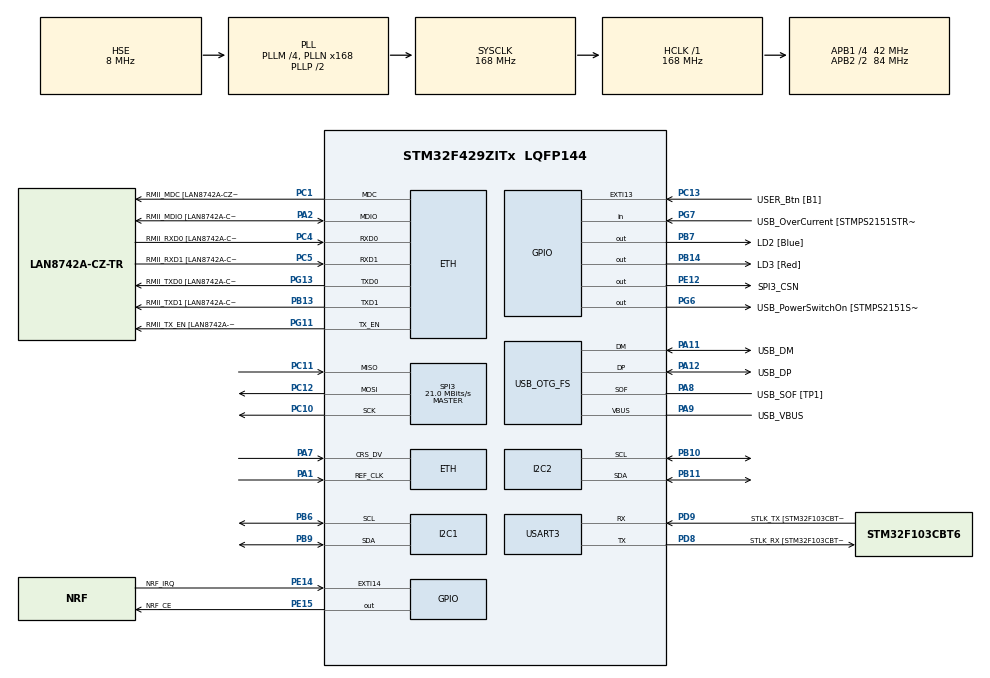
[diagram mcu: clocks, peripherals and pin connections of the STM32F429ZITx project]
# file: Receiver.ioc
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ETH.MediaInterface=HAL_ETH_RMII_MODE
ETH.PHY_Name=LAN8742A_PHY_ADDRESS
ETH.PHY_Name_RMII=DP83848_PHY_ADDRESS
ETH.PHY_Value=0
ETH.PhyAddress=0
LWIP.BSP.number=1
LWIP.IP_ADDRESS=169.254.002.002
LWIP.LWIP_DHCP=0
LWIP.NETMASK_ADDRESS=255.255.000.000
LWIP.Version=v2.1.2_Cube
LWIP0.BSP.STBoard=false
LWIP0.BSP.api=BSP_COMPONENT_DRIVER
LWIP0.BSP.component=LAN8742
LWIP0.BSP.instance=LAN8742
LWIP0.BSP.name=Driver_PHY
LWIP0.BSP.semaphore=S_LAN8742
LWIP0.BSP.solution=LAN8742
Mcu.Family=STM32F4
Mcu.Name=STM32F429ZITx
Mcu.Package=LQFP144
NVIC.EXTI15_10_IRQn=true\:2\:0\:true\:false\:true\:true\:true\:true
NVIC.PriorityGroup=NVIC_PRIORITYGROUP_4
NVIC.TIM1_UP_TIM10_IRQn=true\:1\:0\:true\:false\:true\:true\:true\:true
PA1.Mode=RMII
PA1.Signal=ETH_REF_CLK
PA10.GPIO_Label=USB_ID
PA10.Signal=USB_OTG_FS_ID
PA11.GPIO_Label=USB_DM
PA11.Mode=Device_Only
PA11.Signal=USB_OTG_FS_DM
PA12.GPIO_Label=USB_DP
PA12.Mode=Device_Only
PA12.Signal=USB_OTG_FS_DP
PA13.GPIO_Label=TMS
PA13.Mode=Serial_Wire
PA13.Signal=SYS_JTMS-SWDIO
PA14.GPIO_Label=TCK
PA14.Mode=Serial_Wire
PA14.Signal=SYS_JTCK-SWCLK
PA2.GPIO_Label=RMII_MDIO [LAN8742A-CZ-TR_MDIO]
PA2.Mode=RMII
PA2.Signal=ETH_MDIO
PA7.Mode=RMII
PA7.Signal=ETH_CRS_DV
PA8.GPIO_Label=USB_SOF [TP1]
PA8.Mode=Activate_SOF_FS
PA8.Signal=USB_OTG_FS_SOF
PA9.GPIO_Label=USB_VBUS
PA9.Mode=Activate_VBUS
PA9.Signal=USB_OTG_FS_VBUS
PB10.Mode=I2C
PB10.Signal=I2C2_SCL
PB11.Mode=I2C
PB11.Signal=I2C2_SDA
PB13.GPIO_Label=RMII_TXD1 [LAN8742A-CZ-TR_TXD1]
PB13.Mode=RMII
PB13.Signal=ETH_TXD1
PB14.GPIO_Label=LD3 [Red]
PB14.Signal=GPIO_Output
PB6.Mode=I2C
PB6.Signal=I2C1_SCL
PB7.GPIO_Label=LD2 [Blue]
PB7.Signal=GPIO_Output
PB9.Mode=I2C
PB9.Signal=I2C1_SDA
PC1.GPIO_Label=RMII_MDC [LAN8742A-CZ-TR_MDC]
PC1.Mode=RMII
PC1.Signal=ETH_MDC
PC10.Mode=Full_Duplex_Master
PC10.Signal=SPI3_SCK
PC11.Mode=Full_Duplex_Master
PC11.Signal=SPI3_MISO
PC12.Mode=Full_Duplex_Master
PC12.Signal=SPI3_MOSI
PC13.GPIO_Label=USER_Btn [B1]
PC13.Signal=GPXTI13
PC14/OSC32_IN.Mode=LSE-External-Oscillator
PC14/OSC32_IN.Signal=RCC_OSC32_IN
PC15/OSC32_OUT.Mode=LSE-External-Oscillator
PC15/OSC32_OUT.Signal=RCC_OSC32_OUT
PC4.GPIO_Label=RMII_RXD0 [LAN8742A-CZ-TR_RXD0]
PC4.Mode=RMII
PC4.Signal=ETH_RXD0
PC5.GPIO_Label=RMII_RXD1 [LAN8742A-CZ-TR_RXD1]
PC5.Mode=RMII
PC5.Signal=ETH_RXD1
PD3.Signal=SPI2_SCK
PD8.GPIO_Label=STLK_RX [STM32F103CBT6_PA3]
PD8.Mode=Asynchronous
PD8.Signal=USART3_TX
PD9.GPIO_Label=STLK_TX [STM32F103CBT6_PA2]
PD9.Mode=Asynchronous
PD9.Signal=USART3_RX
PE12.GPIO_Label=SPI3_CSN
PE12.Signal=GPIO_Output
PE14.GPIO_Label=NRF_IRQ
PE14.GPIO_ModeDefaultEXTI=GPIO_MODE_IT_FALLING
PE14.Signal=GPXTI14
PE15.GPIO_Label=NRF_CE
PE15.Signal=GPIO_Output
PG11.GPIO_Label=RMII_TX_EN [LAN8742A-CZ-TR_TXEN]
PG11.Mode=RMII
PG11.Signal=ETH_TX_EN
PG13.GPIO_Label=RMII_TXD0 [LAN8742A-CZ-TR_TXD0]
PG13.Mode=RMII
PG13.Signal=ETH_TXD0
PG6.GPIO_Label=USB_PowerSwitchOn [STMPS2151STR_EN]
PG6.Signal=GPIO_Output
PG7.GPIO_Label=USB_OverCurrent [STMPS2151STR_FAULT]
PG7.Signal=GPIO_Input
PH0/OSC_IN.GPIO_Label=MCO [STM32F103CBT6_PA8]
PH0/OSC_IN.Mode=HSE-External-Oscillator
PH0/OSC_IN.Signal=RCC_OSC_IN
PH1/OSC_OUT.Mode=HSE-External-Oscillator
PH1/OSC_OUT.Signal=RCC_OSC_OUT
ProjectManager.HeapSize=0x200
ProjectManager.StackSize=0x400
ProjectManager.TargetToolchain=STM32CubeIDE
RCC.48MHZClocksFreq_Value=48000000
RCC.AHBFreq_Value=168000000
RCC.APB1CLKDivider=RCC_HCLK_DIV4
RCC.APB1Freq_Value=42000000
RCC.APB1TimFreq_Value=84000000
RCC.APB2CLKDivider=RCC_HCLK_DIV2
RCC.APB2Freq_Value=84000000
RCC.APB2TimFreq_Value=168000000
RCC.CortexFreq_Value=168000000
RCC.HCLKFreq_Value=168000000
RCC.HSE_VALUE=8000000
RCC.HSI_VALUE=16000000
RCC.PLLM=4
RCC.PLLMUL=RCC_PLL_MUL9
RCC.PLLN=168
RCC.PLLQ=7
RCC.PRESCALERUSB=RCC_USBCLKSOURCE_PLL_DIV1_5
RCC.SYSCLKFreq_VALUE=168000000
RCC.SYSCLKSource=RCC_SYSCLKSOURCE_PLLCLK
RCC.SYSCLKSourceVirtual=RCC_SYSCLKSOURCE_PLLCLK
RCC.USBFreq_Value=48000000
RCC.VCOOutputFreq_Value=336000000
SPI3.CalculateBaudRate=21.0 MBits/s
SPI3.Direction=SPI_DIRECTION_2LINES
SPI3.Mode=SPI_MODE_MASTER
SPI3.VirtualType=VM_MASTER
TIM10.ClockDivision=TIM_CLOCKDIVISION_DIV4
TIM10.Period=60000-1
TIM10.Prescaler=42000-1
USART3.VirtualMode=VM_ASYNC
USB_OTG_FS.VirtualMode=Device_Only
VP_LWIP_VS_Enabled.Mode=Enabled
VP_TIM10_VS_ClockSourceINT.Mode=Enable_Timer
board=NUCLEO-F429ZI

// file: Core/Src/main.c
/* USER CODE BEGIN Header */
/**
  ******************************************************************************
  * @file           : main.c
  * @brief          : Main program body
  ******************************************************************************
  * @attention
  *
  * Copyright (c) 2022 STMicroelectronics.
  * All rights reserved.
  *
  * This software is licensed under terms that can be found in the LICENSE file
  * in the root directory of this software component.
  * If no LICENSE file comes with this software, it is provided AS-IS.
  *
  ******************************************************************************
  */
/* USER CODE END Header */
#include "main.h"
#include "lwip.h"

/* USER CODE BEGIN Includes */
#include "nrf/nrf.h"
#include <stdio.h>
#include "bmp280.h"
#include "am2320.h"
/* USER CODE END Includes */

I2C_HandleTypeDef hi2c1;
I2C_HandleTypeDef hi2c2;

SPI_HandleTypeDef hspi3;

TIM_HandleTypeDef htim10;

UART_HandleTypeDef huart3;

PCD_HandleTypeDef hpcd_USB_OTG_FS;

/* USER CODE BEGIN PV */
// nrf interrupt flag
uint8_t nrfInterrupt = 0;

// bmp measurements variables
int32_t bmp280_temp;
uint32_t bmp280_press;

// timer elapsed interrupt flag
uint8_t timerElapsedFlag = 0;
uint8_t startMeasFlag = 0;
/* USER CODE END PV */

void SystemClock_Config(void);
static void MX_GPIO_Init(void);
static void MX_USART3_UART_Init(void);
static void MX_USB_OTG_FS_PCD_Init(void);
static void MX_I2C1_Init(void);
static void MX_I2C2_Init(void);
static void MX_TIM10_Init(void);
static void MX_SPI3_Init(void);

/* USER CODE BEGIN 0 */
int __io_putchar(int ch)
{
  if (ch == '\n') {
    __io_putchar('\r');
  }

  HAL_UART_Transmit(&huart3, (uint8_t*)&ch, 1, HAL_MAX_DELAY);

  return 1;
}

extern struct netif gnetif;
/* USER CODE END 0 */

int main(void)
{

  /* MCU Configuration--------------------------------------------------------*/

  /* Reset of all peripherals, Initializes the Flash interface and the Systick. */
  HAL_Init();

  /* Configure the system clock */
  SystemClock_Config();

  /* Initialize all configured peripherals */
  MX_GPIO_Init();
  MX_USART3_UART_Init();
  MX_USB_OTG_FS_PCD_Init();
  MX_I2C1_Init();
  MX_I2C2_Init();
  MX_TIM10_Init();
  MX_SPI3_Init();
  MX_LWIP_Init();
  /* USER CODE BEGIN 2 */
  HAL_TIM_Base_Start_IT(&htim10);
  // am2320 init
  AM2320_HandleTypeDef am2320 = am2320_init(&hi2c1, AM2320_ADDRESS);

  // bmp280 init
  BMP280_HandleTypedef bmp280;
  bmp280.i2c_handle_ = &hi2c2;
  bmp280_init_force_mode(&bmp280);

  // nrf init
  NRF_HandleTypedef nrf;
  if(!NRF_Init(&nrf)){
	  Error_Handler();
  }

  // pipe configuration
  // address will be clocked from last to first
  // need to clock the same address as for transmitter
  static uint8_t nrf_addr[] = {0x69, 0x21, 0x37};
  if(!NRF_SET_PipeAddress(RX_PIPE_0, nrf_addr)){
	  return NRF_ERROR;
  }
  // prepare pipe
  if(!NRF_SET_PipeRX(RX_PIPE_0, AA_ON, (uint8_t)7)){
	  return NRF_ERROR;
  }

  // set mode to receiver
  if(!NRF_SET_Mode(RX)){
	  return NRF_ERROR;
  }

  // turn transmitter on and wait for at least 1.5 ms
  if(!NRF_SET_PowerMode(PWR_UP)){
	  return NRF_ERROR;
  }
  HAL_Delay(2);
  NRF_PrintConfig();
  // put receiver in rx mode by enabling CE pin
  NRF_CE_SET_HIGH;

  // data buffer
  uint8_t data_buffer[7];
  /* USER CODE END 2 */

  /* Infinite loop */
  /* USER CODE BEGIN WHILE */
  while (1)
  {
	  if(nrfInterrupt){
		  NRF_IRQ_Callback(&nrfInterrupt, data_buffer);
		  printf("Message: ");
		  for(int i =0; i <7; i++){
			  printf("%c", data_buffer[i]);
		  }
		  printf("\n");
	  }
//	  if(startMeasFlag){
		  am2320_read_temperature_and_humidity(&am2320);
		  printf("Temperature: %d.%d\nHumidity: %d.%d\n",
				  am2320.last_temperature /10, am2320.last_temperature % 10,
				  am2320.last_humidity / 10, am2320.last_humidity % 10);
		  bmp280_force_measurement(&bmp280);
		  bmp280_get_measurements(&bmp280, &bmp280_press, &bmp280_temp);
		  printf("Temperature: %d.%d\nPressure: %.3f\n", (int)(bmp280_temp/100), (int)(bmp280_temp%100),
				  (float)bmp280_press/25600.);
//		  startMeasFlag = 0;
		  HAL_Delay(5000);
//	  }
//	  ethernetif_input(&gnetif);
//
//	  sys_check_timeouts();

    /* USER CODE END WHILE */

  }
}

void SystemClock_Config(void)
{
  RCC_OscInitTypeDef RCC_OscInitStruct = {0};
  RCC_ClkInitTypeDef RCC_ClkInitStruct = {0};

  /** Configure the main internal regulator output voltage
  */
  __HAL_RCC_PWR_CLK_ENABLE();
  __HAL_PWR_VOLTAGESCALING_CONFIG(PWR_REGULATOR_VOLTAGE_SCALE1);

  /** Initializes the RCC Oscillators according to the specified parameters
  * in the RCC_OscInitTypeDef structure.
  */
  RCC_OscInitStruct.OscillatorType = RCC_OSCILLATORTYPE_HSE;
  RCC_OscInitStruct.HSEState = RCC_HSE_ON;
  RCC_OscInitStruct.PLL.PLLState = RCC_PLL_ON;
  RCC_OscInitStruct.PLL.PLLSource = RCC_PLLSOURCE_HSE;
  RCC_OscInitStruct.PLL.PLLM = 4;
  RCC_OscInitStruct.PLL.PLLN = 168;
  RCC_OscInitStruct.PLL.PLLP = RCC_PLLP_DIV2;
  RCC_OscInitStruct.PLL.PLLQ = 7;
  if (HAL_RCC_OscConfig(&RCC_OscInitStruct) != HAL_OK)
  {
    Error_Handler();
  }

  /** Initializes the CPU, AHB and APB buses clocks
  */
  RCC_ClkInitStruct.ClockType = RCC_CLOCKTYPE_HCLK|RCC_CLOCKTYPE_SYSCLK
                              |RCC_CLOCKTYPE_PCLK1|RCC_CLOCKTYPE_PCLK2;
  RCC_ClkInitStruct.SYSCLKSource = RCC_SYSCLKSOURCE_PLLCLK;
  RCC_ClkInitStruct.AHBCLKDivider = RCC_SYSCLK_DIV1;
  RCC_ClkInitStruct.APB1CLKDivider = RCC_HCLK_DIV4;
  RCC_ClkInitStruct.APB2CLKDivider = RCC_HCLK_DIV2;

  if (HAL_RCC_ClockConfig(&RCC_ClkInitStruct, FLASH_LATENCY_5) != HAL_OK)
  {
    Error_Handler();
  }
}

static void MX_I2C1_Init(void)
{

  hi2c1.Instance = I2C1;
  hi2c1.Init.ClockSpeed = 100000;
  hi2c1.Init.DutyCycle = I2C_DUTYCYCLE_2;
  hi2c1.Init.OwnAddress1 = 0;
  hi2c1.Init.AddressingMode = I2C_ADDRESSINGMODE_7BIT;
  hi2c1.Init.DualAddressMode = I2C_DUALADDRESS_DISABLE;
  hi2c1.Init.OwnAddress2 = 0;
  hi2c1.Init.GeneralCallMode = I2C_GENERALCALL_DISABLE;
  hi2c1.Init.NoStretchMode = I2C_NOSTRETCH_DISABLE;
  if (HAL_I2C_Init(&hi2c1) != HAL_OK)
  {
    Error_Handler();
  }

  /** Configure Analogue filter
  */
  if (HAL_I2CEx_ConfigAnalogFilter(&hi2c1, I2C_ANALOGFILTER_ENABLE) != HAL_OK)
  {
    Error_Handler();
  }

  /** Configure Digital filter
  */
  if (HAL_I2CEx_ConfigDigitalFilter(&hi2c1, 0) != HAL_OK)
  {
    Error_Handler();
  }

}

static void MX_I2C2_Init(void)
{

  hi2c2.Instance = I2C2;
  hi2c2.Init.ClockSpeed = 100000;
  hi2c2.Init.DutyCycle = I2C_DUTYCYCLE_2;
  hi2c2.Init.OwnAddress1 = 0;
  hi2c2.Init.AddressingMode = I2C_ADDRESSINGMODE_7BIT;
  hi2c2.Init.DualAddressMode = I2C_DUALADDRESS_DISABLE;
  hi2c2.Init.OwnAddress2 = 0;
  hi2c2.Init.GeneralCallMode = I2C_GENERALCALL_DISABLE;
  hi2c2.Init.NoStretchMode = I2C_NOSTRETCH_DISABLE;
  if (HAL_I2C_Init(&hi2c2) != HAL_OK)
  {
    Error_Handler();
  }

  /** Configure Analogue filter
  */
  if (HAL_I2CEx_ConfigAnalogFilter(&hi2c2, I2C_ANALOGFILTER_ENABLE) != HAL_OK)
  {
    Error_Handler();
  }

  /** Configure Digital filter
  */
  if (HAL_I2CEx_ConfigDigitalFilter(&hi2c2, 0) != HAL_OK)
  {
    Error_Handler();
  }

}

static void MX_SPI3_Init(void)
{

  /* SPI3 parameter configuration*/
  hspi3.Instance = SPI3;
  hspi3.Init.Mode = SPI_MODE_MASTER;
  hspi3.Init.Direction = SPI_DIRECTION_2LINES;
  hspi3.Init.DataSize = SPI_DATASIZE_8BIT;
  hspi3.Init.CLKPolarity = SPI_POLARITY_LOW;
  hspi3.Init.CLKPhase = SPI_PHASE_1EDGE;
  hspi3.Init.NSS = SPI_NSS_SOFT;
  hspi3.Init.BaudRatePrescaler = SPI_BAUDRATEPRESCALER_2;
  hspi3.Init.FirstBit = SPI_FIRSTBIT_MSB;
  hspi3.Init.TIMode = SPI_TIMODE_DISABLE;
  hspi3.Init.CRCCalculation = SPI_CRCCALCULATION_DISABLE;
  hspi3.Init.CRCPolynomial = 10;
  if (HAL_SPI_Init(&hspi3) != HAL_OK)
  {
    Error_Handler();
  }

}

static void MX_TIM10_Init(void)
{

  htim10.Instance = TIM10;
  htim10.Init.Prescaler = 42000-1;
  htim10.Init.CounterMode = TIM_COUNTERMODE_UP;
  htim10.Init.Period = 60000-1;
  htim10.Init.ClockDivision = TIM_CLOCKDIVISION_DIV4;
  htim10.Init.AutoReloadPreload = TIM_AUTORELOAD_PRELOAD_DISABLE;
  if (HAL_TIM_Base_Init(&htim10) != HAL_OK)
  {
    Error_Handler();
  }

}

static void MX_USART3_UART_Init(void)
{

  huart3.Instance = USART3;
  huart3.Init.BaudRate = 115200;
  huart3.Init.WordLength = UART_WORDLENGTH_8B;
  huart3.Init.StopBits = UART_STOPBITS_1;
  huart3.Init.Parity = UART_PARITY_NONE;
  huart3.Init.Mode = UART_MODE_TX_RX;
  huart3.Init.HwFlowCtl = UART_HWCONTROL_NONE;
  huart3.Init.OverSampling = UART_OVERSAMPLING_16;
  if (HAL_UART_Init(&huart3) != HAL_OK)
  {
    Error_Handler();
  }

}

static void MX_USB_OTG_FS_PCD_Init(void)
{

  hpcd_USB_OTG_FS.Instance = USB_OTG_FS;
  hpcd_USB_OTG_FS.Init.dev_endpoints = 4;
  hpcd_USB_OTG_FS.Init.speed = PCD_SPEED_FULL;
  hpcd_USB_OTG_FS.Init.dma_enable = DISABLE;
  hpcd_USB_OTG_FS.Init.phy_itface = PCD_PHY_EMBEDDED;
  hpcd_USB_OTG_FS.Init.Sof_enable = ENABLE;
  hpcd_USB_OTG_FS.Init.low_power_enable = DISABLE;
  hpcd_USB_OTG_FS.Init.lpm_enable = DISABLE;
  hpcd_USB_OTG_FS.Init.vbus_sensing_enable = ENABLE;
  hpcd_USB_OTG_FS.Init.use_dedicated_ep1 = DISABLE;
  if (HAL_PCD_Init(&hpcd_USB_OTG_FS) != HAL_OK)
  {
    Error_Handler();
  }

}

static void MX_GPIO_Init(void)
{
  GPIO_InitTypeDef GPIO_InitStruct = {0};

  /* GPIO Ports Clock Enable */
  __HAL_RCC_GPIOC_CLK_ENABLE();
  __HAL_RCC_GPIOH_CLK_ENABLE();
  __HAL_RCC_GPIOA_CLK_ENABLE();
  __HAL_RCC_GPIOE_CLK_ENABLE();
  __HAL_RCC_GPIOB_CLK_ENABLE();
  __HAL_RCC_GPIOD_CLK_ENABLE();
  __HAL_RCC_GPIOG_CLK_ENABLE();

  /*Configure GPIO pin Output Level */
  HAL_GPIO_WritePin(GPIOE, SPI3_CSN_Pin|NRF_CE_Pin, GPIO_PIN_RESET);

  /*Configure GPIO pin Output Level */
  HAL_GPIO_WritePin(GPIOB, LD3_Pin|LD2_Pin, GPIO_PIN_RESET);

  /*Configure GPIO pin Output Level */
  HAL_GPIO_WritePin(USB_PowerSwitchOn_GPIO_Port, USB_PowerSwitchOn_Pin, GPIO_PIN_RESET);

  /*Configure GPIO pin : USER_Btn_Pin */
  GPIO_InitStruct.Pin = USER_Btn_Pin;
  GPIO_InitStruct.Mode = GPIO_MODE_IT_RISING;
  GPIO_InitStruct.Pull = GPIO_NOPULL;
  HAL_GPIO_Init(USER_Btn_GPIO_Port, &GPIO_InitStruct);

  /*Configure GPIO pins : SPI3_CSN_Pin NRF_CE_Pin */
  GPIO_InitStruct.Pin = SPI3_CSN_Pin|NRF_CE_Pin;
  GPIO_InitStruct.Mode = GPIO_MODE_OUTPUT_PP;
  GPIO_InitStruct.Pull = GPIO_NOPULL;
  GPIO_InitStruct.Speed = GPIO_SPEED_FREQ_LOW;
  HAL_GPIO_Init(GPIOE, &GPIO_InitStruct);

  /*Configure GPIO pin : NRF_IRQ_Pin */
  GPIO_InitStruct.Pin = NRF_IRQ_Pin;
  GPIO_InitStruct.Mode = GPIO_MODE_IT_FALLING;
  GPIO_InitStruct.Pull = GPIO_NOPULL;
  HAL_GPIO_Init(NRF_IRQ_GPIO_Port, &GPIO_InitStruct);

  /*Configure GPIO pins : LD3_Pin LD2_Pin */
  GPIO_InitStruct.Pin = LD3_Pin|LD2_Pin;
  GPIO_InitStruct.Mode = GPIO_MODE_OUTPUT_PP;
  GPIO_InitStruct.Pull = GPIO_NOPULL;
  GPIO_InitStruct.Speed = GPIO_SPEED_FREQ_LOW;
  HAL_GPIO_Init(GPIOB, &GPIO_InitStruct);

  /*Configure GPIO pin : USB_PowerSwitchOn_Pin */
  GPIO_InitStruct.Pin = USB_PowerSwitchOn_Pin;
  GPIO_InitStruct.Mode = GPIO_MODE_OUTPUT_PP;
  GPIO_InitStruct.Pull = GPIO_NOPULL;
  GPIO_InitStruct.Speed = GPIO_SPEED_FREQ_LOW;
  HAL_GPIO_Init(USB_PowerSwitchOn_GPIO_Port, &GPIO_InitStruct);

  /*Configure GPIO pin : USB_OverCurrent_Pin */
  GPIO_InitStruct.Pin = USB_OverCurrent_Pin;
  GPIO_InitStruct.Mode = GPIO_MODE_INPUT;
  GPIO_InitStruct.Pull = GPIO_NOPULL;
  HAL_GPIO_Init(USB_OverCurrent_GPIO_Port, &GPIO_InitStruct);

  /*Configure GPIO pin : PD3 */
  GPIO_InitStruct.Pin = GPIO_PIN_3;
  GPIO_InitStruct.Mode = GPIO_MODE_AF_PP;
  GPIO_InitStruct.Pull = GPIO_NOPULL;
  GPIO_InitStruct.Speed = GPIO_SPEED_FREQ_VERY_HIGH;
  GPIO_InitStruct.Alternate = GPIO_AF5_SPI2;
  HAL_GPIO_Init(GPIOD, &GPIO_InitStruct);

  /* EXTI interrupt init*/
  HAL_NVIC_SetPriority(EXTI15_10_IRQn, 2, 0);
  HAL_NVIC_EnableIRQ(EXTI15_10_IRQn);

}

/* USER CODE BEGIN 4 */
// nrf irq pin interrupt
void HAL_GPIO_EXTI_Callback(uint16_t GPIO_Pin){
	if(GPIO_Pin == NRF_IRQ_Pin){
		// if interrupt comes from IRQ pin, then set flag
		nrfInterrupt = 1;
	}
}

// minute timer interrupt
void HAL_TIM_PeriodElapsedCallback(TIM_HandleTypeDef *htim){
	timerElapsedFlag++;
	if(timerElapsedFlag == 4){
		startMeasFlag = 1;
	}

}
/* USER CODE END 4 */

void Error_Handler(void)
{
  __disable_irq();
  while (1)
  {
  }
}
